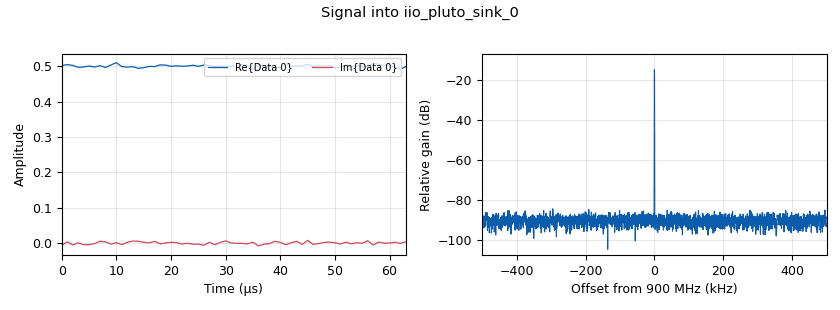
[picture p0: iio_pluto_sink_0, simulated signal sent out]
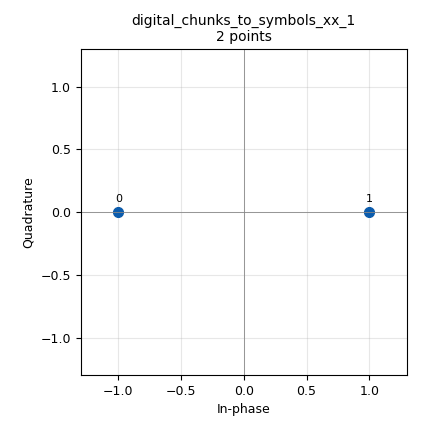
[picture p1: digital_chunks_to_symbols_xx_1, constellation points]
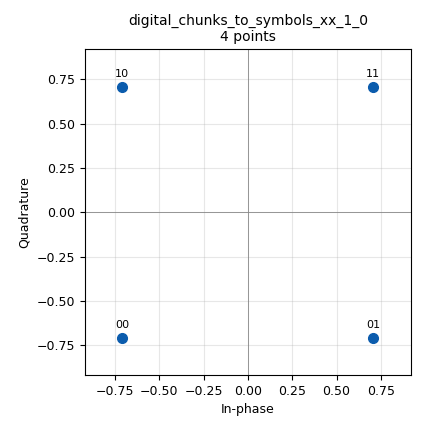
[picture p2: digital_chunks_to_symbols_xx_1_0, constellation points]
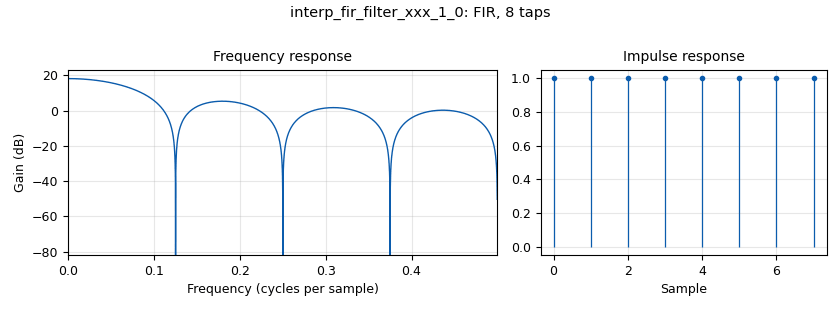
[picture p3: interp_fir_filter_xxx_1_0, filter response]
options:
  parameters:
    author: wes
    generate_options: qt_gui
    id: lab3
    output_language: python
    title: Lab 3
  states: {}

blocks:
- name: axis
  id: variable
  parameters:
    value: '2'
  states: {}
- name: bSelectPLL
  id: variable_qtgui_chooser
  parameters:
    gui_hint: 12, 1,1,1
    label: PLL Order
    label0: Standard
    label1: Costas
    label2: QPSK Costas
    num_opts: '3'
    option1: '4'
    option2: '8'
    orient: Qt.QHBoxLayout
    type: int
    value: '2'
    widget: radio_buttons
  states: {}
- name: bSignal
  id: variable_qtgui_chooser
  parameters:
    gui_hint: 12, 0,1,1
    label: Signal Select
    label0: Tone
    label1: BPSK
    label2: QPSK
    num_opts: '3'
    option1: '1'
    option2: '2'
    orient: Qt.QHBoxLayout
    type: int
    value: '0'
    widget: radio_buttons
  states: {}
- name: buff_size
  id: variable
  parameters:
    value: '32768'
  states: {}
- name: bw
  id: variable
  parameters:
    value: '1'
  states: {}
- name: const_bpsk
  id: variable_constellation
  parameters:
    const_points: digital.psk_2()[0]
    dims: '1'
    precision: '8'
    rot_sym: '2'
    sym_map: digital.psk_2()[1]
    type: calcdist
  states: {}
- name: const_qpsk
  id: variable_constellation
  parameters:
    const_points: digital.psk_4()[0]
    dims: '1'
    precision: '8'
    rot_sym: '4'
    sym_map: digital.psk_4()[1]
    type: calcdist
  states: {}
- name: fo
  id: variable_qtgui_range
  parameters:
    gui_hint: 11, 1,1,1
    label: Frequency Offset (Hz)
    orient: Qt.Horizontal
    start: '0'
    step: '100'
    stop: 50e3
    value: '0'
  states: {}
- name: fps
  id: variable
  parameters:
    value: '30'
  states: {}
- name: freqc
  id: variable
  parameters:
    value: '900'
  states: {}
- name: freqc_
  id: variable_qtgui_range
  parameters:
    gui_hint: 10, 0,1,1
    label: Carrier (MHz)
    orient: Qt.Horizontal
    start: '70'
    step: '.01'
    stop: '6000'
    value: freqc
  states: {}
- name: gain_
  id: variable_qtgui_range
  parameters:
    gui_hint: 10, 1,1,1
    label: Gain (Amp)
    orient: Qt.Horizontal
    start: '0.1'
    step: '0.01'
    stop: '1'
    value: '0.5'
  states: {}
- name: loop_bw
  id: variable_qtgui_range
  parameters:
    gui_hint: 13, 1,1,1
    label: Loop Bandwidth
    orient: Qt.Horizontal
    start: '0.01'
    step: '0.01'
    stop: '1'
    value: 6.28/100
  states: {}
- name: lw
  id: variable
  parameters:
    value: '2'
  states: {}
- name: samp_rate
  id: variable
  parameters:
    value: '1000'
  states: {}
- name: sps
  id: variable
  parameters:
    value: '8'
  states: {}
- name: std_dev
  id: variable_qtgui_range
  parameters:
    gui_hint: 11, 0,1,1
    label: Noise Std. Dev
    orient: Qt.Horizontal
    start: '0'
    step: '0.001'
    stop: '0.1'
    value: '0.01'
  states: {}
- name: analog_agc_xx_0
  id: analog_agc_xx
  parameters:
    gain: '1.0'
    max_gain: '65536'
    rate: '1e-4'
    reference: '1.0'
    type: complex
  states: {}
- name: analog_noise_source_x_0
  id: analog_noise_source_x
  parameters:
    amp: std_dev
    noise_type: analog.GR_GAUSSIAN
    seed: '0'
    type: complex
  states: {}
- name: analog_pll_freqdet_cf_0
  id: analog_pll_freqdet_cf
  parameters:
    max_freq: '50000'
    min_freq: '-50000'
    w: loop_bw
  states: {}
- name: analog_random_source_x_0
  id: analog_random_source_x
  parameters:
    max: '2'
    min: '0'
    num_samps: '8192'
    repeat: 'True'
    type: byte
  states: {}
- name: analog_random_source_x_0_0
  id: analog_random_source_x
  parameters:
    max: '4'
    min: '0'
    num_samps: '8192'
    repeat: 'True'
    type: byte
  states: {}
- name: analog_sig_source_x_0
  id: analog_sig_source_x
  parameters:
    amp: '1'
    freq: fo
    offset: '0'
    phase: '0'
    samp_rate: samp_rate*1000
    type: complex
    waveform: analog.GR_COS_WAVE
  states: {}
- name: blocks_add_const_vxx_0
  id: blocks_add_const_vxx
  parameters:
    const: '1'
    type: complex
  states: {}
- name: blocks_add_xx_0
  id: blocks_add_xx
  parameters:
    type: complex
  states: {}
- name: blocks_multiply_const_vxx_0
  id: blocks_multiply_const_vxx
  parameters:
    const: 'gain_ '
    type: complex
  states: {}
- name: blocks_multiply_const_vxx_1
  id: blocks_multiply_const_vxx
  parameters:
    const: '0'
    type: complex
  states: {}
- name: blocks_multiply_const_vxx_2
  id: blocks_multiply_const_vxx
  parameters:
    const: samp_rate*1000/6.28
    type: float
  states: {}
- name: blocks_multiply_xx_0
  id: blocks_multiply_xx
  parameters:
    type: complex
  states: {}
- name: blocks_selector_0_0
  id: blocks_selector
  parameters:
    enabled: 'True'
    input_index: bSignal
    num_inputs: '3'
    num_outputs: '1'
    output_index: '0'
    type: complex
  states: {}
- name: blocks_tag_gate_0
  id: blocks_tag_gate
  parameters:
    propagate_tags: 'False'
    type: float
  states: {}
- name: digital_chunks_to_symbols_xx_1
  id: digital_chunks_to_symbols_xx
  parameters:
    dimension: '1'
    in_type: byte
    out_type: complex
    symbol_table: const_bpsk.points()
  states: {}
- name: digital_chunks_to_symbols_xx_1_0
  id: digital_chunks_to_symbols_xx
  parameters:
    dimension: '1'
    in_type: byte
    out_type: complex
    symbol_table: const_qpsk.points()
  states: {}
- name: digital_clock_recovery_mm_xx_0
  id: digital_clock_recovery_mm_xx
  parameters:
    gain_mu: '0.175'
    gain_omega: 0.25*0.175*0.175
    mu: '0.5'
    omega: samp_per_sym*(1+0.0)
    omega_relative_limit: '0.005'
    type: complex
  states: {state: disabled}
- name: digital_costas_loop_cc_0
  id: digital_costas_loop_cc
  parameters:
    order: bSelectPLL
    w: 6.28/100
  states: {state: disabled}
- name: epy_module_0
  id: epy_module
  parameters:
    source_code: |
      import sys
      import os

      # run the command to generate usb.dat
      cmd1 = 'iio_info -s | grep "usb" | awk \'{print $9}\' | awk -F[ \'{print $2}\' | awk -F] \'{print $1}\' > usb.dat'
      os.system(cmd1)

      # open usb.dat and print its entries
      f = open('usb.dat','r')

      strUSB = f.readlines()                  # read all the lines from iio_info -s
      num_devices = len(strUSB)-1             # get the number of devices

      # clean-up
      f.close()                               # close file once we're done.

      # remove file
      cmd2 = 'rm usb.dat'
      os.system(cmd2)


      if num_devices > 0:
          strUSB = strUSB[1:]

          for n in range(num_devices):
              strUSB[n] = strUSB[n].rstrip()  # strip the "\n" chars out

          TX = strUSB[0]
          RX = strUSB[1]

          print('TX set to Pluto: ' + TX)
          print('Rx set to Pluto: ' + RX)
      else:
          print('No Devices Found!')

      print('\n')

      #print(strUSB)                           # debug print          
  states: {}
- name: iio_pluto_sink_0
  id: iio_pluto_sink
  parameters:
    attenuation1: '10.0'
    auto_filter: 'True'
    bandwidth: '20000000'
    buffer_size: buff_size
    cyclic: 'False'
    frequency: int(freqc_*1e6)
    samplerate: int(samp_rate*1000)
    uri: epy_module_0.TX
  states: {}
- name: iio_pluto_source_0
  id: iio_pluto_source
  parameters:
    auto_filter: 'True'
    bandwidth: '20000000'
    bbdc: 'True'
    buffer_size: buff_size
    frequency: int(freqc_*1e6)
    gain1: '''manual'''
    manual_gain1: '32'
    quadrature: 'True'
    rfdc: 'True'
    samplerate: int(samp_rate*1000)
    uri: epy_module_0.RX
  states: {}
- name: import_1
  id: import
  parameters:
    imports: import numpy as np
  states: {}
- name: import_1_0
  id: import
  parameters:
    imports: from math import pi
  states: {}
- name: interp_fir_filter_xxx_1_0
  id: interp_fir_filter_xxx
  parameters:
    interp: sps
    taps: (1,1,1,1,1,1,1,1)
    type: ccc
  states: {}
- name: interp_fir_filter_xxx_1_0_0
  id: interp_fir_filter_xxx
  parameters:
    interp: sps
    taps: (1,1,1,1,1,1,1,1)
    type: ccc
  states: {}
- name: qtgui_freq_sink_x_0
  id: qtgui_freq_sink_x
  parameters:
    affinity: '0'
    bw: samp_rate*1e3
    fc: '0'
    fftsize: '1024'
    grid: 'True'
    gui_hint: tab0@1:5,0,5,1
    label1: In-Phase
    type: complex
    update_time: 1/fps
    wintype: firdes.WIN_BLACKMAN_hARRIS
  states: {}
- name: qtgui_time_sink_x_0_0
  id: qtgui_time_sink_x
  parameters:
    ctrlpanel: 'True'
    grid: 'True'
    gui_hint: tab0@0:5,0,5,1
    size: '1024'
    srate: samp_rate
    type: float
  states: {}
- name: tab0
  id: qtgui_tab_widget
  parameters:
    gui_hint: 0,0,10,2
    label0: Loop Filter Output
    label1: Spectrum
    num_tabs: '2'
  states: {}

connections:
- [analog_agc_xx_0, '0', analog_pll_freqdet_cf_0, '0']
- [analog_agc_xx_0, '0', digital_costas_loop_cc_0, '0']
- [analog_agc_xx_0, '0', qtgui_freq_sink_x_0, '0']
- [analog_noise_source_x_0, '0', blocks_add_xx_0, '1']
- [analog_pll_freqdet_cf_0, '0', blocks_tag_gate_0, '0']
- [analog_random_source_x_0, '0', digital_chunks_to_symbols_xx_1, '0']
- [analog_random_source_x_0_0, '0', digital_chunks_to_symbols_xx_1_0, '0']
- [analog_sig_source_x_0, '0', blocks_multiply_xx_0, '1']
- [blocks_add_const_vxx_0, '0', blocks_selector_0_0, '0']
- [blocks_add_xx_0, '0', blocks_multiply_const_vxx_0, '0']
- [blocks_multiply_const_vxx_0, '0', blocks_multiply_xx_0, '0']
- [blocks_multiply_const_vxx_1, '0', blocks_add_const_vxx_0, '0']
- [blocks_multiply_const_vxx_2, '0', qtgui_time_sink_x_0_0, '0']
- [blocks_multiply_xx_0, '0', iio_pluto_sink_0, '0']
- [blocks_selector_0_0, '0', blocks_add_xx_0, '0']
- [blocks_tag_gate_0, '0', blocks_multiply_const_vxx_2, '0']
- [digital_chunks_to_symbols_xx_1, '0', interp_fir_filter_xxx_1_0, '0']
- [digital_chunks_to_symbols_xx_1_0, '0', interp_fir_filter_xxx_1_0_0, '0']
- [digital_costas_loop_cc_0, '0', blocks_tag_gate_0, '0']
- [iio_pluto_source_0, '0', analog_agc_xx_0, '0']
- [interp_fir_filter_xxx_1_0, '0', blocks_multiply_const_vxx_1, '0']
- [interp_fir_filter_xxx_1_0, '0', blocks_selector_0_0, '1']
- [interp_fir_filter_xxx_1_0_0, '0', blocks_selector_0_0, '2']

metadata:
  file_format: 1
